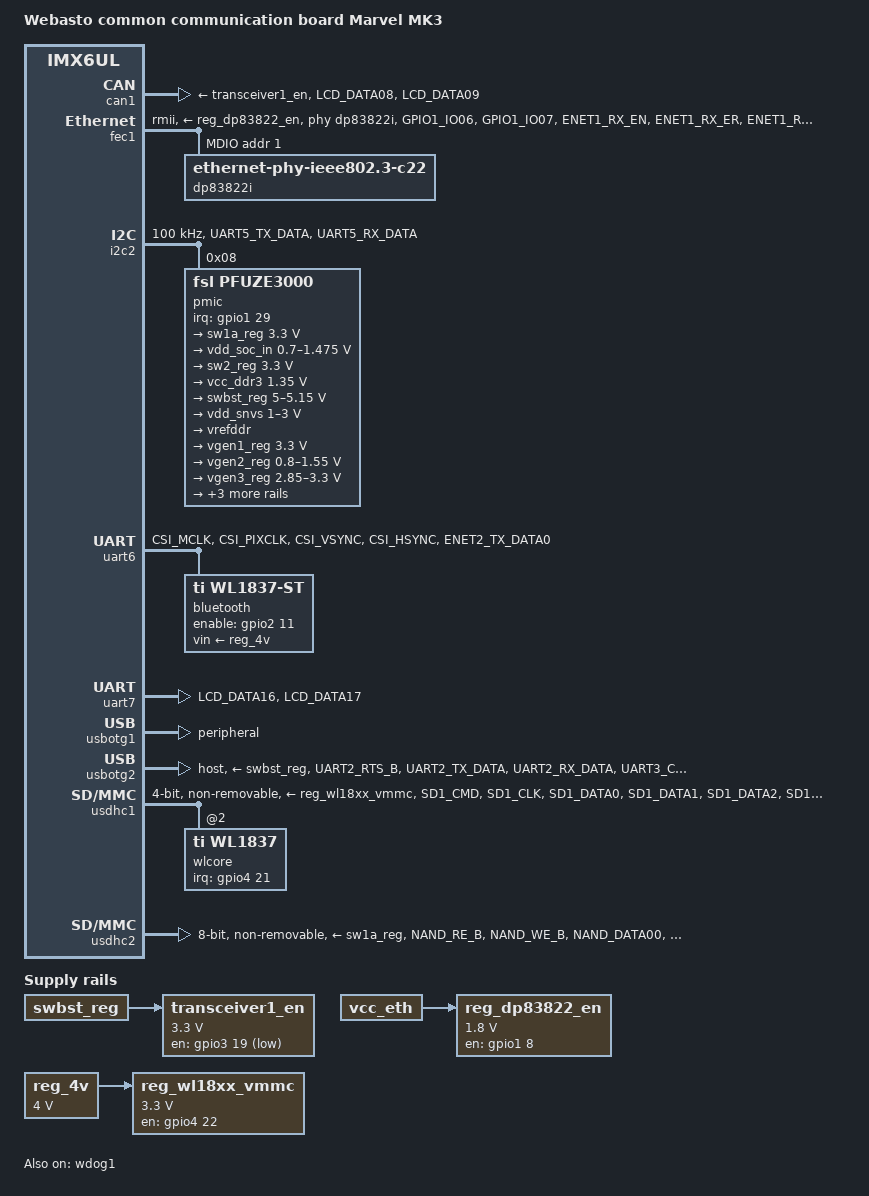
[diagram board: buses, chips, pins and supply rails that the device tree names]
// SPDX-License-Identifier: (GPL-2.0 OR MIT)
/*
 * Copyright (C) 2019, Webasto SE
 * Author: Johannes Eigner <johannes.eigner@webasto.com>
 *
 * Description of the Marvel B2, MK3 Comboard
 */

/dts-v1/;

#include <arm/nxp/imx/imx6ul.dtsi>

/ {
	model = "Webasto common communication board Marvel MK3";
	compatible = "webasto,imx6ul-marvel-b2", "webasto,imx6ul-marvel", "fsl,imx6ul";
	barebox,disable-deep-probe;

	chosen {
		stdout-path = &uart7;
		environment {
			compatible = "barebox,environment";
			device-path = &environment_emmc;
		};
	};

	aliases {
		state = &state_emmc;
	};

	reserved-memory {
		#address-cells = <1>;
		#size-cells = <1>;
		ranges;

		dt-overlay@84000000 {
			reg = <0x84000000 0x100000>;
			no-map;
		};
	};

	state_emmc: state {
		compatible = "barebox,state";
		magic = <0x290cf8c6>;
		backend-type = "raw";
		backend = <&backend_state_emmc>;
		backend-stridesize = <0x200>;

		bootstate {
			#address-cells = <1>;
			#size-cells = <1>;

			system0 {
				#address-cells = <1>;
				#size-cells = <1>;

				remaining_attempts@0 {
					reg = <0x0 0x4>;
					type = "uint32";
					default = <3>;
				};

				priority@4 {
					reg = <0x4 0x4>;
					type = "uint32";
					default = <20>;
				};
			};

			system1 {
				#address-cells = <1>;
				#size-cells = <1>;

				remaining_attempts@8 {
					reg = <0x8 0x4>;
					type = "uint32";
					default = <3>;
				};

				priority@c {
					reg = <0xc 0x4>;
					type = "uint32";
					default = <21>;
				};
			};

			last_chosen@10 {
				reg = <0x10 0x4>;
				type = "uint32";
			};
		};
	};

	transceiver1_en: regulator-can1phy {
		compatible = "regulator-fixed";
		regulator-name = "can-transceiver1";
		pinctrl-names = "default";
		pinctrl-0 = <&pinctl_can1phy>;
		vin-supply = <&swbst_reg>;
		regulator-min-microvolt = <3300000>;
		regulator-max-microvolt = <3300000>;
		gpio = <&gpio3 19 GPIO_ACTIVE_LOW>;
	};

	reg_4v: regulator-4v {
		compatible = "regulator-fixed";
		regulator-name = "V_+4V";
		regulator-min-microvolt = <4000000>;
		regulator-max-microvolt = <4000000>;
		regulator-boot-on;
		regulator-always-on;
	};

	reg_wl18xx_vmmc: regulator-wl18xx {
		compatible = "regulator-fixed";
		regulator-name = "wl1837";
		pinctrl-names = "default";
		pinctrl-0 = <&pinctrl_wifi_reg>;
		vin-supply = <&reg_4v>;
		regulator-min-microvolt = <3300000>;
		regulator-max-microvolt = <3300000>;
		gpio = <&gpio4 22 GPIO_ACTIVE_HIGH>;
		startup-delay-us = <70000>;
		enable-active-high;
	};

	reg_dp83822_en: regulator-dp83822 {
		compatible = "regulator-fixed";
		regulator-name = "dp83822";
		pinctrl-names = "default";
		pinctrl-0 = <&pinctrl_phy_reg>;
		vin-supply = <&vcc_eth>;
		regulator-min-microvolt = <1800000>;
		regulator-max-microvolt = <1800000>;
		gpio = <&gpio1 8 GPIO_ACTIVE_HIGH>;
		enable-active-high;
	};
};

&asrc {
	status = "disabled";
};

&can1 {
	xceiver-supply = <&transceiver1_en>; /* CAN side */
	vdd-supply = <&vgen1_reg>; /* I/O side */
	pinctrl-names = "default";
	pinctrl-0 = <&pinctl_can1>;
};

&fec1 {
	pinctrl-names = "default";
	pinctrl-0 = <&pinctrl_enet1>;
	phy-mode = "rmii";
	phy-supply = <&reg_dp83822_en>;
	phy-handle = <&dp83822i>;
	phy-reset-gpios = <&gpio1 9 GPIO_ACTIVE_LOW>;
	status = "okay";

	mdio {
		#address-cells = <1>;
		#size-cells = <0>;

		dp83822i: ethernet-phy@1 {
			compatible = "ethernet-phy-ieee802.3-c22";
			reg = <1>;
			clocks = <&clks IMX6UL_CLK_ENET_REF>;
			clock-names = "rmii-ref";
		};
	};
};

&i2c2 {
	pinctrl-names = "default";
	pinctrl-0 = <&pinctrl_i2c2>;
	clock-frequency = <100000>;
	status = "okay";

	pmic: mc34pf3000@8 {
		compatible = "fsl,pfuze3000";
		pinctrl-names = "default";
		pinctrl-0 = <&pinctl_pmic_irq>;
		interrupts-extended = <&gpio1 29 IRQ_TYPE_LEVEL_LOW>;
		reg = <0x08>;
		regulators {
			sw1a_reg: sw1a {
				regulator-name = "V_+3V3_SW1A";
				vin-supply = <&reg_4v>;
				regulator-min-microvolt = <3300000>;
				regulator-max-microvolt = <3300000>;
				regulator-boot-on;
				regulator-always-on;
				regulator-ramp-delay = <6250>;
			};
			vdd_soc_in: sw1b {
				regulator-name = "V_+1V4_SW1B";
				vin-supply = <&reg_4v>;
				regulator-min-microvolt = <700000>;
				regulator-max-microvolt = <1475000>;
				regulator-ramp-delay = <6250>;
				regulator-boot-on;
				regulator-always-on;
			};
			sw2_reg: sw2 {
				regulator-name = "V_+3V3_SW2";
				vin-supply = <&reg_4v>;
				regulator-min-microvolt = <3300000>;
				regulator-max-microvolt = <3300000>;
				regulator-boot-on;
				regulator-always-on;
			};
			vcc_ddr3: sw3 {
				regulator-name = "V_+1V35_SW3";
				vin-supply = <&reg_4v>;
				regulator-min-microvolt = <1350000>;
				regulator-max-microvolt = <1350000>;
				regulator-boot-on;
				regulator-always-on;
			};
			swbst_reg: swbst {
				regulator-name = "V_+5V0_SWBST";
				vin-supply = <&reg_4v>;
				regulator-min-microvolt = <5000000>;
				regulator-max-microvolt = <5150000>;
				regulator-boot-on;
				regulator-always-on; /* due to hardware requirements */
			};
			vdd_snvs: vsnvs {
				regulator-name = "V_+3V0_SNVS";
				vin-supply = <&reg_4v>;
				regulator-min-microvolt = <1000000>;
				regulator-max-microvolt = <3000000>;
				regulator-boot-on;
				regulator-always-on;
			};
			vrefddr: vrefddr {
				regulator-name = "V_+0V675_VREFDDR";
				vin-supply = <&vcc_ddr3>;
				regulator-boot-on;
				regulator-always-on;
			};
			/* 3V3 Supply: i.MX6 modules */
			vgen1_reg: vldo1 {
				regulator-name = "V_+3V3_LDO1";
				vin-supply = <&reg_4v>;
				regulator-min-microvolt = <3300000>;
				regulator-max-microvolt = <3300000>;
				regulator-boot-on;
				regulator-always-on;
			};
			vgen2_reg: vldo2 {
				/* not connected */
				regulator-min-microvolt = <800000>;
				regulator-max-microvolt = <1550000>;
			};
			vgen3_reg: vccsd {
				regulator-min-microvolt = <2850000>;
				regulator-max-microvolt = <3300000>;
			};
			vdd_high_in: v33 {
				regulator-name = "V_+3V3_V33";
				vin-supply = <&reg_4v>;
				regulator-min-microvolt = <3300000>;
				regulator-max-microvolt = <3300000>;
				regulator-boot-on;
				regulator-always-on;
			};
			vcc_eth: vldo3 {
				regulator-name = "V_+1V8_LDO3";
				vin-supply = <&reg_4v>;
				regulator-min-microvolt = <1800000>;
				regulator-max-microvolt = <1800000>;
				regulator-boot-on;
				regulator-always-on;
			};
			vgen6_reg: vldo4 {
				regulator-name = "V_+1V8_LDO4";
				vin-supply = <&reg_4v>;
				regulator-min-microvolt = <1800000>;
				regulator-max-microvolt = <1800000>;
				regulator-boot-on;
				regulator-always-on;
			};
		};
	};
};

&iomuxc {
	pinctrl_phy_reg: phyreggrp {
		fsl,pins = <
			/* high = phy enabled */
			MX6UL_PAD_GPIO1_IO08__GPIO1_IO08	0x13030
		>;
	};

	pinctrl_enet1: enet1grp {
		fsl,pins = <
			/* Note: 1.8 V */
			MX6UL_PAD_GPIO1_IO06__ENET1_MDIO	0x1b0b0
			MX6UL_PAD_GPIO1_IO07__ENET1_MDC		0x1b0b0
			MX6UL_PAD_ENET1_RX_EN__ENET1_RX_EN	0x1b0b0
			MX6UL_PAD_ENET1_RX_ER__ENET1_RX_ER	0x1b0b0
			MX6UL_PAD_ENET1_RX_DATA0__ENET1_RDATA00	0x1b0b0
			MX6UL_PAD_ENET1_RX_DATA1__ENET1_RDATA01	0x1b0b0
			MX6UL_PAD_ENET1_TX_EN__ENET1_TX_EN	0x1b0b0
			MX6UL_PAD_ENET1_TX_DATA0__ENET1_TDATA00	0x1b0b0
			MX6UL_PAD_ENET1_TX_DATA1__ENET1_TDATA01	0x1b0b0
			MX6UL_PAD_ENET1_TX_CLK__ENET1_REF_CLK1	0x4001b031
			MX6UL_PAD_GPIO1_IO09__GPIO1_IO09	0x13030
		>;
	};

	pinctl_pmic_irq: pmicgrp {
		fsl,pins = <
			/* 1.8 V level */
			MX6UL_PAD_UART4_RX_DATA__GPIO1_IO29	0x10000
		>;
	};

	pinctrl_i2c2: i2c2grp {
		fsl,pins = <
			/* 1.8 V level for all */
			MX6UL_PAD_UART5_TX_DATA__I2C2_SCL	0x4001b8b0
			MX6UL_PAD_UART5_RX_DATA__I2C2_SDA	0x4001b8b0
		>;
	};

	pinctrl_uart6: uart6grp {
		fsl,pins = <
			/* 1.8 V level for all */
			MX6UL_PAD_CSI_MCLK__UART6_DCE_TX	0x1b0b0
			MX6UL_PAD_CSI_PIXCLK__UART6_DCE_RX	0x1b0b0
			MX6UL_PAD_CSI_VSYNC__UART6_DCE_RTS	0x1b0b0
			MX6UL_PAD_CSI_HSYNC__UART6_DCE_CTS	0x1b0b0
			MX6UL_PAD_ENET2_TX_DATA0__GPIO2_IO11	0x10030
		>;
	};

	pinctrl_uart7: uart7grp {
		fsl,pins = <
			/* 3.3 V level for all */
			MX6UL_PAD_LCD_DATA16__UART7_DCE_TX	0x0b0b0
			MX6UL_PAD_LCD_DATA17__UART7_DCE_RX	0x1b0b0
		>;
	};

	pinctrl_wifi_reg: wifigrp {
		fsl,pins = <
			/* 1.8 V level for all */
			MX6UL_PAD_CSI_DATA01__GPIO4_IO22	0x10030
			MX6UL_PAD_GPIO1_IO03__OSC32K_32K_OUT	0x00010
		>;
	};

	pinctrl_wifi_irq: wifiirqgrp {
		fsl,pins = <
			/* 1.8 V level */
			MX6UL_PAD_CSI_DATA00__GPIO4_IO21	0x17000
		>;
	};

	pinctrl_usdhc1: usdhc1grp {
		fsl,pins = <
			/* 1.8 V level for all */
			MX6UL_PAD_SD1_CMD__USDHC1_CMD		0x10059
			MX6UL_PAD_SD1_CLK__USDHC1_CLK		0x10059
			MX6UL_PAD_SD1_DATA0__USDHC1_DATA0	0x10059
			MX6UL_PAD_SD1_DATA1__USDHC1_DATA1	0x10059
			MX6UL_PAD_SD1_DATA2__USDHC1_DATA2	0x10059
			MX6UL_PAD_SD1_DATA3__USDHC1_DATA3	0x10059
		>;
	};

	pinctrl_usdhc2: usdhc2grp_slow {
		fsl,pins = <
			/* 3.3 V level for all, *no* external PU */
			MX6UL_PAD_NAND_RE_B__USDHC2_CLK		0x10079
			MX6UL_PAD_NAND_WE_B__USDHC2_CMD		0x17029
			MX6UL_PAD_NAND_DATA00__USDHC2_DATA0	0x17029
			MX6UL_PAD_NAND_DATA01__USDHC2_DATA1	0x17029
			MX6UL_PAD_NAND_DATA02__USDHC2_DATA2	0x17029
			MX6UL_PAD_NAND_DATA03__USDHC2_DATA3	0x17029
			MX6UL_PAD_NAND_DATA04__USDHC2_DATA4	0x17029
			MX6UL_PAD_NAND_DATA05__USDHC2_DATA5	0x17029
			MX6UL_PAD_NAND_DATA06__USDHC2_DATA6	0x17029
			MX6UL_PAD_NAND_DATA07__USDHC2_DATA7	0x17029
			MX6UL_PAD_NAND_ALE__USDHC2_RESET_B	0x00008
		>;
	};

	pinctrl_usdhc2_100MHZ: usdhc2grp_100m {
		fsl,pins = <
			/* 3.3 V level for all, *no* external PU */
			MX6UL_PAD_NAND_RE_B__USDHC2_CLK		0x100e9
			MX6UL_PAD_NAND_WE_B__USDHC2_CMD		0x1b0a9
			MX6UL_PAD_NAND_DATA00__USDHC2_DATA0	0x1b0a9
			MX6UL_PAD_NAND_DATA01__USDHC2_DATA1	0x1b0a9
			MX6UL_PAD_NAND_DATA02__USDHC2_DATA2	0x1b0a9
			MX6UL_PAD_NAND_DATA03__USDHC2_DATA3	0x1b0a9
			MX6UL_PAD_NAND_DATA04__USDHC2_DATA4	0x1b0a9
			MX6UL_PAD_NAND_DATA05__USDHC2_DATA5	0x1b0a9
			MX6UL_PAD_NAND_DATA06__USDHC2_DATA6	0x1b0a9
			MX6UL_PAD_NAND_DATA07__USDHC2_DATA7	0x1b0a9
			MX6UL_PAD_NAND_ALE__USDHC2_RESET_B	0x00008
		>;
	};

	pinctrl_usdhc2_200MHZ: usdhc2grp_200m {
		fsl,pins = <
			/* 3.3 V level for all, *no* external PU */
			MX6UL_PAD_NAND_RE_B__USDHC2_CLK		0x100e9
			MX6UL_PAD_NAND_WE_B__USDHC2_CMD		0x1b0e9
			MX6UL_PAD_NAND_DATA00__USDHC2_DATA0	0x1b0e9
			MX6UL_PAD_NAND_DATA01__USDHC2_DATA1	0x1b0e9
			MX6UL_PAD_NAND_DATA02__USDHC2_DATA2	0x1b0e9
			MX6UL_PAD_NAND_DATA03__USDHC2_DATA3	0x1b0e9
			MX6UL_PAD_NAND_DATA04__USDHC2_DATA4	0x1b0e9
			MX6UL_PAD_NAND_DATA05__USDHC2_DATA5	0x1b0e9
			MX6UL_PAD_NAND_DATA06__USDHC2_DATA6	0x1b0e9
			MX6UL_PAD_NAND_DATA07__USDHC2_DATA7	0x1b0e9
			MX6UL_PAD_NAND_ALE__USDHC2_RESET_B	0x00008
		>;
	};

	pinctrl_wdog: wdoggrp {
		fsl,pins = <
			MX6UL_PAD_GPIO1_IO01__WDOG1_WDOG_B	0x00b0
		>;
	};

	pinctl_can1phy: can1phygrp {
		fsl,pins = <
			/* 3.3 V level */
			MX6UL_PAD_LCD_DATA14__GPIO3_IO19	0x00008
		>;
	};

	pinctl_can1: can1grp {
		fsl,pins = <
			/* 3.3 V level for all */
			MX6UL_PAD_LCD_DATA08__FLEXCAN1_TX	0x00009
			MX6UL_PAD_LCD_DATA09__FLEXCAN1_RX	0x17000
		>;
	};

	pinctrl_usbotg2: cmgrp {
		fsl,pins = <
			MX6UL_PAD_UART2_RTS_B__GPIO1_IO23       0x10800  /* shutdown signal from voltage monitor */
			MX6UL_PAD_UART2_TX_DATA__GPIO1_IO20     0x00028  /* power on signal to modem */
			MX6UL_PAD_UART2_RX_DATA__GPIO1_IO21     0x00028  /* fast shutdown signal to modem */
			MX6UL_PAD_UART3_CTS_B__GPIO1_IO26       0x00028  /* emergency reset signal to modem */
			MX6UL_PAD_UART3_RX_DATA__GPIO1_IO25     0x14000  /* status signal from modem */
		>;
	};
};

&gpio1 {
	gpio-line-names = "", "", "", "", "", "", "", "",
		     "", "", "", "", "", "", "", "",
		     "", "", "", "", "PWRON_CM_UC_DO", "FST_SHDN_CM_UC_DO", "", "INT_VMON_OUT",
		     "", "STATUS_CM_UC_DI", "RST_EMERG_UC_DO", "", "";
};

&ocotp {
	barebox,provide-mac-address = <&fec1 0x620>;
};

&reg_arm {
	vin-supply = <&vdd_soc_in>;
	regulator-allow-bypass;
};

&reg_soc {
	vin-supply = <&vdd_soc_in>;
	regulator-allow-bypass;
};

&uart6 {
	pinctrl-names = "default";
	pinctrl-0 = <&pinctrl_uart6>;
	uart-has-rtscts;
	bluetooth {
		compatible = "ti,wl1837-st";
		enable-gpios = <&gpio2 11 GPIO_ACTIVE_HIGH>;
		vin-supply = <&reg_4v>;
	};
};

&uart7 {
	pinctrl-names = "default";
	pinctrl-0 = <&pinctrl_uart7>;
	status = "okay";
};

&usbotg1 {
	/* Micro-USB-plug */
	dr_mode = "peripheral";
	status = "okay";
};

&usbotg2 {
	/* Modem (e.g. internal only) */
	pinctrl-names = "default";
	pinctrl-0 = <&pinctrl_usbotg2>;
	vbus-supply = <&swbst_reg>;
	dr_mode = "host";
	disable-over-current;
	status = "okay";
};

&usdhc1 {
	/* SDIO (WIFI/BT) */
	pinctrl-names = "default";
	pinctrl-0 = <&pinctrl_usdhc1>;
	bus-width = <4>;
	vmmc-supply = <&reg_wl18xx_vmmc>;
	vqmmc-supply = <&vgen6_reg>;
	non-removable;
	no-sd;
	no-mmc;
	keep-power-in-suspend;
	cap-power-off-card;
	max-frequency = <25000000>;
	#address-cells = <1>;
	#size-cells = <0>;

	wlcore: wlcore@2 {
		compatible = "ti,wl1837";
		pinctrl-names = "default";
		pinctrl-0 = <&pinctrl_wifi_irq>;
		reg = <2>;
		interrupts-extended = <&gpio4 21 IRQ_TYPE_LEVEL_HIGH>;
		tcxo-clock-frequency = <26000000>;
	};
};

&usdhc2 {
	/* eMMC */
	pinctrl-names = "default", "state_100mhz", "state_200mhz";
	pinctrl-0 = <&pinctrl_usdhc2>;
	pinctrl-1 = <&pinctrl_usdhc2_100MHZ>;
	pinctrl-2 = <&pinctrl_usdhc2_200MHZ>;
	bus-width = <8>;
	vmmc-supply = <&sw1a_reg>;
	vqmmc-supply = <&vgen1_reg>;
	no-1-8-v;
	non-removable;
	no-sd;
	no-sdio;
	keep-power-in-suspend;
	cap-mmc-hw-reset;
	status = "okay";
	/* bootloader specific */
	partitions {
		compatible = "barebox,fixed-partitions";
		#address-cells = <1>;
		#size-cells = <1>;

		partition@0 {
			label = "barebox";
			reg = <0x0 0x100000>;
		};

		environment_emmc: partition@100000 {
			label = "barebox-environment";
			reg = <0x100000 0x100000>;
		};

		backend_state_emmc: partition@200000 {
			label = "barebox-state";
			reg = <0x200000 0x100000>;
		};
	};
};

&wdog1 {
	pinctrl-names = "default";
	pinctrl-0 = <&pinctrl_wdog>;
	fsl,ext-reset-output;
	status = "okay";
};

/* include the FIT public key for verifying on demand */
#ifdef CONFIG_BOOTM_FITIMAGE_PUBKEY
#include CONFIG_BOOTM_FITIMAGE_PUBKEY
#endif
